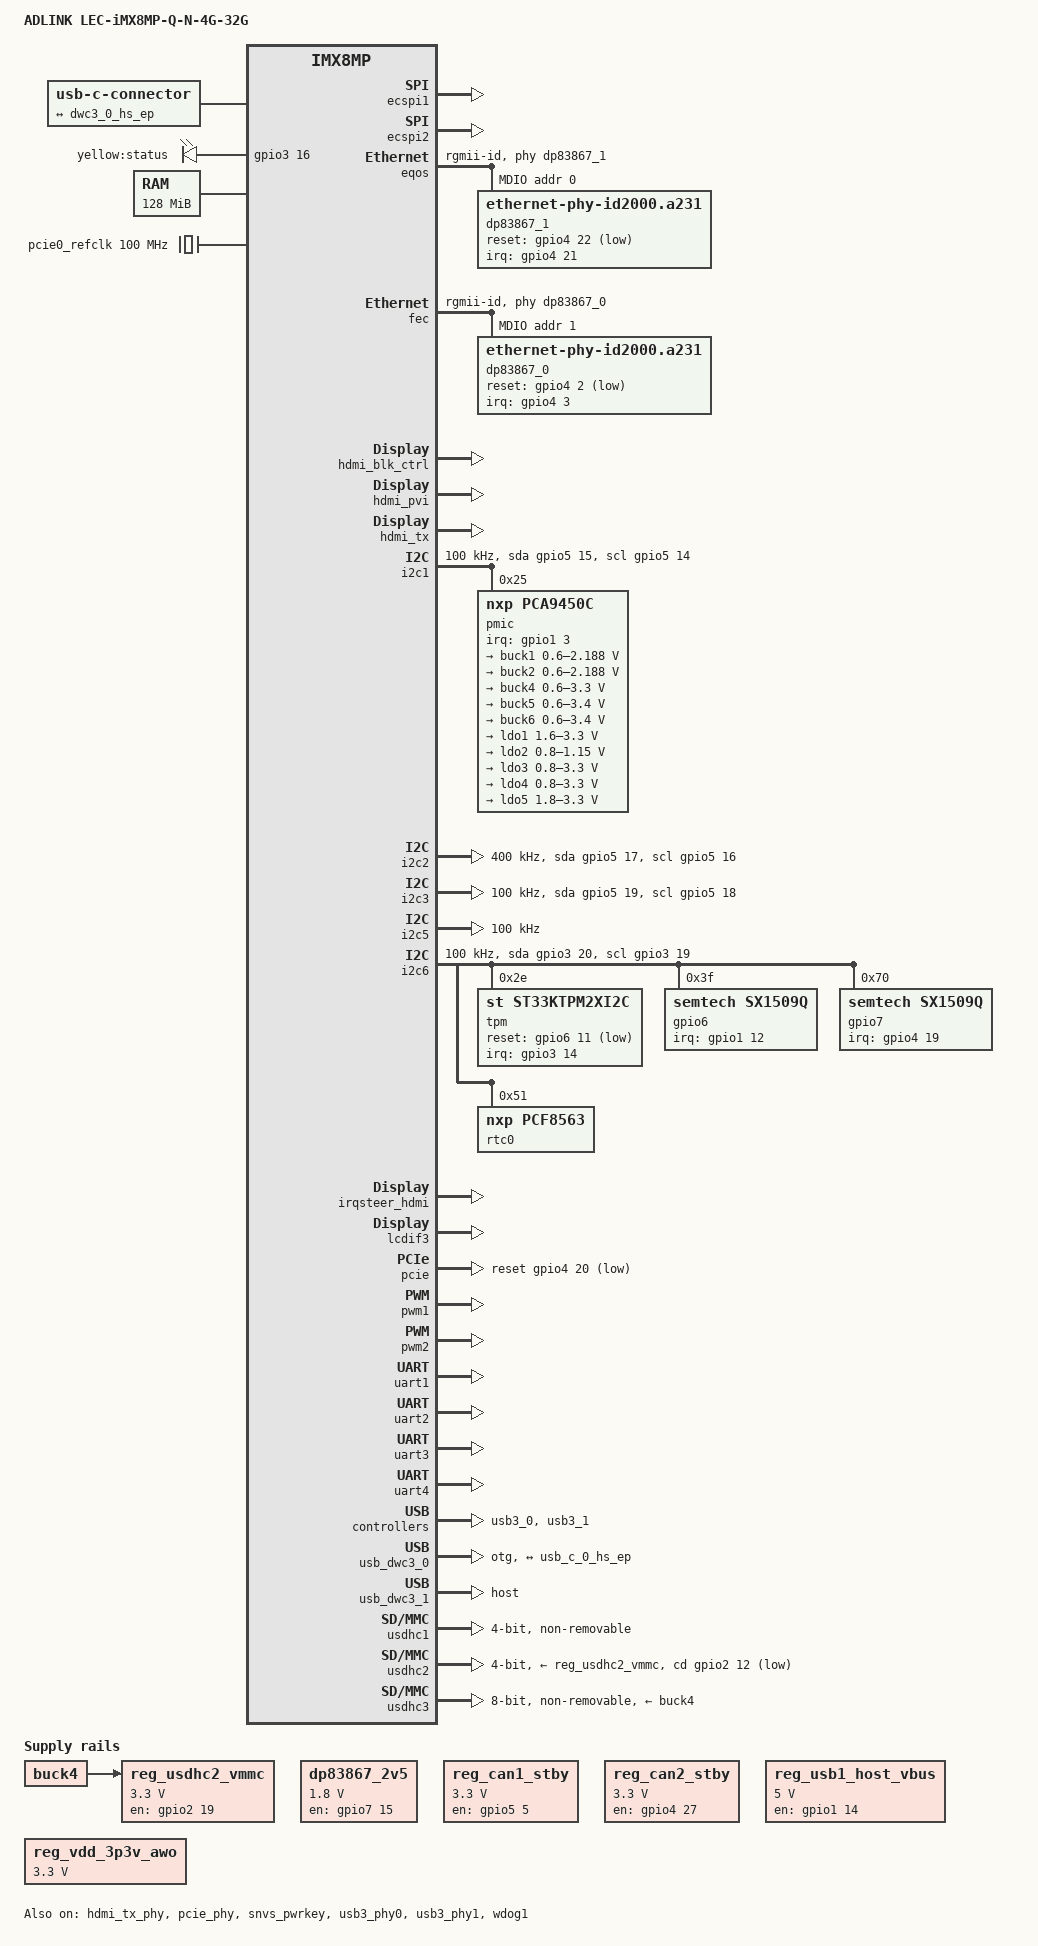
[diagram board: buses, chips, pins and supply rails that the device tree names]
// SPDX-License-Identifier: GPL-2.0
/*
 * Copyright (C) 2024 Heiko Schocher <hs@denx.de>
 */

#include "imx8mp.dtsi"
#include <dt-bindings/net/ti-dp83867.h>

/ {
	model = "ADLINK LEC-iMX8MP-Q-N-4G-32G";
	compatible = "abb,imx8mp-aristianetos3-som", "fsl,imx8mp";

	aliases {
		mmc0 = &usdhc3;	/* eMMC */
		mmc1 = &usdhc2;	/* MicroSD */
		ethernet0 = &eqos;
		ethernet1 = &fec;
	};

	chosen {
		bootargs = "console=ttymxc1,115200 earlycon=ec_imx6q,0x30890000,115200";
		stdout-path = &uart2;
	};

	connector {
		compatible = "usb-c-connector";
		label = "USB-C";
		data-role = "dual";

		ports {
			#address-cells = <1>;
			#size-cells = <0>;

			port@0 {
				reg = <0>;

				usb_c_0_hs_ep: endpoint {
					remote-endpoint = <&dwc3_0_hs_ep>;
				};
			};
		};
	};

	fixed-regulators {
		compatible = "simple-bus";
		device_type = "fixed-regulators";
		#address-cells = <1>;
		#size-cells = <0>;

		dp83867_2v5: regulator-enet {
			compatible = "regulator-fixed";
			regulator-name = "enet-2v5";
			regulator-min-microvolt = <1800000>;
			regulator-max-microvolt = <1800000>;
			gpio = <&gpio7 15 GPIO_ACTIVE_HIGH>;
			regulator-boot-on;
			regulator-always-on;
			enable-active-high;
		};
	};

	gpio-leds {
		compatible = "gpio-leds";
		pinctrl-names = "default";
		pinctrl-0 = <&pinctrl_gpio_led>;

		status {
			label = "yellow:status";
			gpios = <&gpio3 16 GPIO_ACTIVE_HIGH>;
			default-state = "on";
		};
	};

	lvds_backlight: lvds_backlight {
		compatible = "pwm-backlight";
		pinctrl-names = "default";
		pinctrl-0 = <&pinctrl_lvds_pwr_en>;
		pwms = <&pwm2 0 100000>;
		enable-gpios = <&gpio1 10 GPIO_ACTIVE_HIGH>;
		status = "disabled";

		brightness-levels = < 0  1  2  3  4  5  6  7  8  9
				     10 11 12 13 14 15 16 17 18 19
				     20 21 22 23 24 25 26 27 28 29
				     30 31 32 33 34 35 36 37 38 39
				     40 41 42 43 44 45 46 47 48 49
				     50 51 52 53 54 55 56 57 58 59
				     60 61 62 63 64 65 66 67 68 69
				     70 71 72 73 74 75 76 77 78 79
				     80 81 82 83 84 85 86 87 88 89
				     90 91 92 93 94 95 96 97 98 99
				    100>;
		default-brightness-level = <80>;
	};

	memory@40000000 {
		device_type = "memory";
		/* Memory size 512 MiB..8 GiB will be filled by U-Boot */
		reg = <0x0 0x40000000 0 0x08000000>;
	};

	pcie0_refclk: pcie0-refclk {
		compatible = "fixed-clock";
		#clock-cells = <0>;
		clock-frequency = <100000000>;
	};

	reg_can1_stby: regulator-can1-stby {
		compatible = "regulator-fixed";
		regulator-name = "can1-stby";
		pinctrl-names = "default";
		pinctrl-0 = <&pinctrl_flexcan1_reg>;
		regulator-min-microvolt = <3300000>;
		regulator-max-microvolt = <3300000>;
		gpio = <&gpio5 5 GPIO_ACTIVE_HIGH>;
		enable-active-high;
	};

	reg_can2_stby: regulator-can2-stby {
		compatible = "regulator-fixed";
		regulator-name = "can2-stby";
		pinctrl-names = "default";
		pinctrl-0 = <&pinctrl_flexcan2_reg>;
		regulator-min-microvolt = <3300000>;
		regulator-max-microvolt = <3300000>;
		gpio = <&gpio4 27 GPIO_ACTIVE_HIGH>;
		enable-active-high;
	};

	reg_usb1_host_vbus: regulator-usb1-vbus {
		compatible = "regulator-fixed";
		regulator-name = "usb1_host_vbus";
		pinctrl-names = "default";
		pinctrl-0 = <&pinctrl_usb1_vbus>;
		regulator-min-microvolt = <5000000>;
		regulator-max-microvolt = <5000000>;
		gpio = <&gpio1 14 GPIO_ACTIVE_HIGH>;
		enable-active-high;
		regulator-always-on;
	};

	reg_usdhc2_vmmc: regulator-usdhc2-vmmc {
		compatible = "regulator-fixed";
		enable-active-high;
		gpio = <&gpio2 19 0>; /* SD2_RESET */
		off-on-delay-us = <12000>;
		pinctrl-names = "default";
		pinctrl-0 = <&pinctrl_usdhc2_vmmc>;
		regulator-max-microvolt = <3300000>;
		regulator-min-microvolt = <3300000>;
		regulator-name = "VDD_3V3_SD";
		startup-delay-us = <100>;
		vin-supply = <&buck4>;
	};

	reg_vdd_3p3v_awo: regulator-vdd-3p3v-awo {
		compatible = "regulator-fixed";
		regulator-always-on;
		regulator-min-microvolt = <3300000>;
		regulator-max-microvolt = <3300000>;
		regulator-name = "VDD_3P3V_AWO";
	};

	reserved-memory {
		#address-cells = <2>;
		#size-cells = <2>;
		ranges;

		rpmsg_reserved: rpmsg@55800000 {
			no-map;
			reg = <0 0x55800000 0 0x800000>;
		};
	};
};

&A53_0 {
	cpu-supply = <&buck2>;
};

&A53_1 {
	cpu-supply = <&buck2>;
};

&A53_2 {
	cpu-supply = <&buck2>;
};

&A53_3 {
	cpu-supply = <&buck2>;
};

&clk {
	init-on-array = <IMX8MP_CLK_HSIO_ROOT>;
	clocks = <&osc_32k>, <&osc_24m>, <&clk_ext1>, <&clk_ext2>,
		 <&clk_ext3>, <&clk_ext4>;
	clock-names = "osc_32k", "osc_24m", "clk_ext1", "clk_ext2",
		      "clk_ext3", "clk_ext4";
	assigned-clocks = <&clk IMX8MP_CLK_A53_SRC>,
			  <&clk IMX8MP_CLK_A53_CORE>,
			  <&clk IMX8MP_CLK_NOC>,
			  <&clk IMX8MP_CLK_NOC_IO>,
			  <&clk IMX8MP_CLK_GIC>,
			  <&clk IMX8MP_CLK_AUDIO_AHB>,
			  <&clk IMX8MP_CLK_AUDIO_AXI_SRC>,
			  <&clk IMX8MP_AUDIO_PLL1>,
			  <&clk IMX8MP_AUDIO_PLL2>,
			  <&clk IMX8MP_VIDEO_PLL1>;
};

&ecspi1{
	#address-cells = <1>;
	#size-cells = <0>;

	fsl,spi-num-chipselects = <2>;
	pinctrl-names = "default";
	pinctrl-0 = <&pinctrl_ecspi1 &pinctrl_ecspi1_cs2>;
	cs-gpios = <&gpio5 9 GPIO_ACTIVE_LOW &gpio1 6 GPIO_ACTIVE_LOW>;
	status = "okay";
};

&ecspi2 {
	#address-cells = <1>;
	#size-cells = <0>;
	fsl,spi-num-chipselects = <1>;
	pinctrl-names = "default";
	pinctrl-0 = <&pinctrl_ecspi2>;
	cs-gpios = <&gpio5 13 GPIO_ACTIVE_LOW>;
	status = "okay";
};

/* eth0 */
&eqos {
	pinctrl-names = "default";
	pinctrl-0 = <&pinctrl_eqos_rgmii>;
	phy-handle = <&dp83867_1>;
	phy-mode = "rgmii-id";
	snps,force_thresh_dma_mode;
	snps,mtl-tx-config = <&mtl_tx_setup>;
	snps,mtl-rx-config = <&mtl_rx_setup>;
	status = "okay";

	mdio {
		compatible = "snps,dwmac-mdio";
		#address-cells = <1>;
		#size-cells = <0>;

		dp83867_1: eqos-ethernet-phy@0 {
			compatible = "ethernet-phy-id2000.a231", "ethernet-phy-ieee802.3-c22";
			reg = <0>;
			ti,rx-internal-delay = <DP83867_RGMIIDCTL_1_75_NS>;
			ti,tx-internal-delay = <DP83867_RGMIIDCTL_1_75_NS>;
			ti,fifo-depth = <DP83867_PHYCR_FIFO_DEPTH_4_B_NIB>;
			ti,min-output-impedance;
			ti,dp83867-rxctrl-strap-quirk;
			interrupt-parent = <&gpio4>;
			interrupts = <21 IRQ_TYPE_EDGE_FALLING>;
			reset-gpios = <&gpio4 22 GPIO_ACTIVE_LOW>;
		};
	};

	mtl_tx_setup: tx-queues-config {
		snps,tx-queues-to-use = <5>;
		snps,tx-sched-sp;
		queue0 {
			snps,dcb-algorithm;
			snps,priority = <0x1>;
		};
		queue1 {
			snps,dcb-algorithm;
			snps,priority = <0x2>;
		};
		queue2 {
			snps,dcb-algorithm;
			snps,priority = <0x4>;
		};
		queue3 {
			snps,dcb-algorithm;
			snps,priority = <0x8>;
		};
		queue4 {
			snps,dcb-algorithm;
			snps,priority = <0xf0>;
		};
	};

	mtl_rx_setup: rx-queues-config {
		snps,rx-queues-to-use = <5>;
		snps,rx-sched-sp;
		queue0 {
			snps,dcb-algorithm;
			snps,priority = <0x1>;
			snps,map-to-dma-channel = <0>;
		};
		queue1 {
			snps,dcb-algorithm;
			snps,priority = <0x2>;
			snps,map-to-dma-channel = <1>;
		};
		queue2 {
			snps,dcb-algorithm;
			snps,priority = <0x4>;
			snps,map-to-dma-channel = <2>;
		};
		queue3 {
			snps,dcb-algorithm;
			snps,priority = <0x8>;
			snps,map-to-dma-channel = <3>;
		};
		queue4 {
			snps,dcb-algorithm;
			snps,priority = <0xf0>;
			snps,map-to-dma-channel = <4>;
		};
	};

};

/* eth1 */
&fec {
	pinctrl-names = "default";
	pinctrl-0 = <&pinctrl_fec_rgmii>;
	phy-handle = <&dp83867_0>;
	phy-mode = "rgmii-id";
	fsl,magic-packet;
	status = "okay";

	mdio {
		#address-cells = <1>;
		#size-cells = <0>;

		dp83867_0: ethernet-phy@1 {
			compatible = "ethernet-phy-id2000.a231", "ethernet-phy-ieee802.3-c22";
			reg = <1>;
			interrupt-parent = <&gpio4>;
			interrupts = <3 IRQ_TYPE_EDGE_FALLING>;
			reset-gpio = <&gpio4 2 GPIO_ACTIVE_LOW>;

			ti,rx-internal-delay = <DP83867_RGMIIDCTL_1_75_NS>;
			ti,tx-internal-delay = <DP83867_RGMIIDCTL_1_75_NS>;
			ti,fifo-depth = <DP83867_PHYCR_FIFO_DEPTH_4_B_NIB>;

			ti,min-output-impedance;
			ti,dp83867-rxctrl-strap-quirk;
			eee-broken-1000t;
		};
	};
};

&flexcan1 {
	pinctrl-names = "default";
	pinctrl-0 = <&pinctrl_flexcan1>;
	xceiver-supply = <&reg_can1_stby>;
	status = "disabled";
};

&flexcan2 {
	pinctrl-names = "default";
	pinctrl-0 = <&pinctrl_flexcan2>;
	xceiver-supply = <&reg_can1_stby>;
	status = "disabled";
};

&hdmi_blk_ctrl {
	status = "okay";
};

&hdmi_pvi {
	status = "okay";
};

&hdmi_tx {
	pinctrl-names = "default";
	pinctrl-0 = <&pinctrl_hdmi>;
	status = "okay";
};

&hdmi_tx_phy {
	status = "okay";
};

&i2c1 {
	clock-frequency = <100000>;
	pinctrl-names = "default", "gpio";
	pinctrl-0 = <&pinctrl_i2c1>;
	pinctrl-1 = <&pinctrl_i2c1_gpio>;
	scl-gpios = <&gpio5 14 GPIO_ACTIVE_HIGH>;
	sda-gpios = <&gpio5 15 GPIO_ACTIVE_HIGH>;
	status = "okay";

	pmic: pmic@25 {
		compatible = "nxp,pca9450c";
		reg = <0x25>;
		pinctrl-names = "default";
		pinctrl-0 = <&pinctrl_pmic>;
		interrupt-parent = <&gpio1>;
		interrupts = <3 IRQ_TYPE_LEVEL_LOW>;

		/*
		 * i.MX 8M Plus Data Sheet for Consumer Products
		 * 3.1.4 Operating ranges
		 * MIMX8ML8CVNKZAB
		 */
		regulators {
			buck1: BUCK1 {	/* VDD_SOC (dual-phase with BUCK3) */
				regulator-compatible = "BUCK1";
				regulator-min-microvolt = <600000>;
				regulator-max-microvolt = <2187500>;
				regulator-ramp-delay = <3125>;
				regulator-always-on;
				regulator-boot-on;
			};

			buck2: BUCK2 {	/* VDD_ARM */
				nxp,dvs-run-voltage = <950000>;
				nxp,dvs-standby-voltage = <850000>;
				regulator-compatible = "BUCK2";
				regulator-min-microvolt = <600000>;
				regulator-max-microvolt = <2187500>;
				regulator-ramp-delay = <3125>;
				regulator-always-on;
				regulator-boot-on;
			};

			buck4: BUCK4 {	/* VDD_3V3 */
				regulator-compatible = "BUCK4";
				regulator-min-microvolt = <600000>;
				regulator-max-microvolt = <3300000>;
				regulator-always-on;
				regulator-boot-on;
			};

			buck5: BUCK5 {	/* VDD_1V8 */
				regulator-compatible = "BUCK5";
				regulator-min-microvolt = <600000>;
				regulator-max-microvolt = <3400000>;
				regulator-always-on;
				regulator-boot-on;
			};

			buck6: BUCK6 {	/* NVCC_DRAM_1V1 */
				regulator-compatible = "BUCK6";
				regulator-min-microvolt = <600000>;
				regulator-max-microvolt = <3400000>;
				regulator-always-on;
				regulator-boot-on;
			};

			ldo1: LDO1 {	/* NVCC_SNVS_1V8 */
				regulator-compatible = "LDO1";
				regulator-min-microvolt = <1600000>;
				regulator-max-microvolt = <3300000>;
				regulator-always-on;
				regulator-boot-on;
			};

			ldo2: LDO2 {	/* VDDA_1V8 */
				regulator-compatible = "LDO2";
				regulator-min-microvolt = <800000>;
				regulator-max-microvolt = <1150000>;
				regulator-always-on;
				regulator-boot-on;
			};

			ldo3: LDO3 {	/* VDDA_1V8 */
				regulator-compatible = "LDO3";
				regulator-min-microvolt = <800000>;
				regulator-max-microvolt = <3300000>;
				regulator-always-on;
				regulator-boot-on;
			};

			ldo4: LDO4 {	/* PMIC_LDO4 */
				regulator-compatible = "LDO4";
				regulator-min-microvolt = <800000>;
				regulator-max-microvolt = <3300000>;
				regulator-always-on;
				regulator-boot-on;
			};

			ldo5: LDO5 {	/* NVCC_SD2 */
				regulator-compatible = "LDO5";
				regulator-min-microvolt = <1800000>;
				regulator-max-microvolt = <3300000>;
			};
		};
	};
};

&i2c2 {
	clock-frequency = <400000>;
	pinctrl-names = "default", "gpio";
	pinctrl-0 = <&pinctrl_i2c2>;
	pinctrl-1 = <&pinctrl_i2c2_gpio>;
	scl-gpios = <&gpio5 16 GPIO_ACTIVE_HIGH>;
	sda-gpios = <&gpio5 17 GPIO_ACTIVE_HIGH>;
	status = "okay";
};

&i2c3 {
	clock-frequency = <100000>;
	pinctrl-names = "default", "gpio";
	pinctrl-0 = <&pinctrl_i2c3>;
	pinctrl-1 = <&pinctrl_i2c3_gpio>;
	scl-gpios = <&gpio5 18 GPIO_ACTIVE_HIGH>;
	sda-gpios = <&gpio5 19 GPIO_ACTIVE_HIGH>;
	status = "okay";
};

&i2c5 {
	#address-cells = <1>;
	clock-frequency = <100000>;
	pinctrl-names = "default";
	pinctrl-0 = <&pinctrl_i2c5>;
	status = "okay";
};

&i2c6 {
	clock-frequency = <100000>;
	pinctrl-names = "default", "gpio";
	pinctrl-0 = <&pinctrl_i2c6>;
	pinctrl-1 = <&pinctrl_i2c6_gpio>;
	scl-gpios = <&gpio3 19 GPIO_ACTIVE_HIGH>;
	sda-gpios = <&gpio3 20 GPIO_ACTIVE_HIGH>;
	status = "okay";

	/* TPM - ST33TPHF2XI2C U2301 */
	tpm: tpm@2e {
		#gpio-cells = <2>;
		#interrupt-cells = <2>;
		compatible = "st,st33ktpm2xi2c";
		reg = <0x2e>;

		label = "tpm";
		pinctrl-names = "default";
		pinctrl-0 = <&pinctrl_i2c6_tpm_irq &pinctrl_tpm>;
		interrupt-parent = <&gpio3>;
		interrupts = <14 IRQ_TYPE_LEVEL_LOW>;
		reset-gpio = <&gpio6 11 GPIO_ACTIVE_LOW>;
		status = "okay";
	};

	/* SX1509(0) U2605 */
	gpio6: i2c6_gpioext0@3f {
		#gpio-cells = <2>;
		#interrupt-cells = <2>;
		compatible = "semtech,sx1509q";
		reg = <0x3f>;

		semtech,probe-reset;
		gpio-controller;
		interrupt-controller;

		interrupt-parent = <&gpio1>;
		interrupts = <12 IRQ_TYPE_EDGE_FALLING>;
	};

	/* SX1509(1) U2606 */
	gpio7: i2c6_gpioext1@70 {
		#gpio-cells = <2>;
		#interrupt-cells = <2>;
		compatible = "semtech,sx1509q";
		reg = <0x70>;

		semtech,probe-reset;
		gpio-controller;
		interrupt-controller;

		interrupt-parent = <&gpio4>;
		interrupts = <19 IRQ_TYPE_EDGE_FALLING>;

		pinctrl_tpm: aristainetos3-tpm-grp {
			pins = "gpio6","gpio7"; // TPM_PP, TPM_LP
			output-high;
		};
	};

	/* RTC U2607 */
	rtc0: rtc@51 {
		compatible = "nxp,pcf8563";
		reg = <0x51>;
		#clock-cells = <0>;
	};
};

&irqsteer_hdmi {
	status = "okay";
};

&lcdif1 {
	status = "disabled";
};

&lcdif2 {
	status = "disabled";
};

/* HDMI */
&lcdif3 {
	status = "okay";

};

&lvds_bridge {
	status = "disabled";
};

&mipi_dsi {
	status = "disabled";
};

&pcie{
	pinctrl-names = "default";
	pinctrl-0 = <&pinctrl_pcie>;
	reset-gpio = <&gpio4 20 GPIO_ACTIVE_LOW>;
	ext_osc = <0>;
	clocks = <&clk IMX8MP_CLK_HSIO_ROOT>,
		 <&clk IMX8MP_CLK_PCIE_AUX>,
		 <&clk IMX8MP_CLK_HSIO_AXI>,
		 <&clk IMX8MP_CLK_PCIE_ROOT>;
	clock-names = "pcie", "pcie_aux", "pcie_phy", "pcie_bus";
	assigned-clocks = <&clk IMX8MP_CLK_HSIO_AXI>,
			  <&clk IMX8MP_CLK_PCIE_AUX>;
	assigned-clock-rates = <500000000>, <10000000>;
	assigned-clock-parents = <&clk IMX8MP_SYS_PLL2_500M>,
				 <&clk IMX8MP_SYS_PLL2_50M>;
	reserved-region = <&rpmsg_reserved>;
	fsl,tx-deemph-gen1 = <0x1f>;
	fsl,max-link-speed = <3>;
	status = "okay";
};

&pcie_phy{
	fsl,refclk-pad-mode = <IMX8_PCIE_REFCLK_PAD_INPUT>;
	clocks = <&pcie0_refclk>;
	clock-names = "ref";
	status = "okay";
};

&pwm1 {
	pinctrl-names = "default";
	pinctrl-0 = <&pinctrl_pwm1>;
	status = "okay";
};

&pwm2 {
	#pwm-cells = <2>;
	pinctrl-names = "default";
	pinctrl-0 = <&pinctrl_pwm2>;
	status = "okay";
};

&snvs_pwrkey {
	status = "okay";
};

&uart1 {
	pinctrl-names = "default";
	pinctrl-0 = <&pinctrl_uart1>;
	status = "okay";
};

&uart2 {
	pinctrl-names = "default";
	pinctrl-0 = <&pinctrl_uart2>;
	status = "okay";
};

&uart3 {
	pinctrl-names = "default";
	pinctrl-0 = <&pinctrl_uart3>;
	status = "okay";
};

&uart4 {
	pinctrl-names = "default";
	pinctrl-0 = <&pinctrl_uart4>;
	status = "okay";
};

&usb3_phy0 {
	fsl,phy-tx-vref-tune = <0xe>;
	fsl,phy-tx-preemp-amp-tune = <3>;
	fsl,phy-tx-vboost-level = <5>;
	fsl,phy-comp-dis-tune = <7>;
	fsl,pcs-tx-deemph-3p5db = <0x21>;
	fsl,phy-pcs-tx-swing-full = <0x7f>;
	status = "okay";
};

&usb3_0 {
	status = "okay";
};

&usb_dwc3_0 {
	dr_mode = "otg";
	hnp-disable;
	srp-disable;
	adp-disable;
	usb-role-switch;
	role-switch-default-mode = "peripheral";
	status = "okay";

	port {
		#address-cells = <1>;
		#size-cells = <0>;

		dwc3_0_hs_ep: endpoint@0 {
			reg = <0>;
			remote-endpoint = <&usb_c_0_hs_ep>;
		};
	};
};

&usb3_phy1 {
	fsl,phy-tx-preemp-amp-tune = <3>;
	status = "okay";
};

&usb3_1 {
	status = "okay";
};

&usb_dwc3_1 {
	dr_mode = "host";
	status = "okay";
};

&usdhc1 {
	pinctrl-names = "default", "state_100mhz", "state_200mhz";
	pinctrl-0 = <&pinctrl_usdhc1>;
	pinctrl-1 = <&pinctrl_usdhc1_100mhz>;
	pinctrl-2 = <&pinctrl_usdhc1_200mhz>;
	bus-width = <4>;
	non-removable;
	status = "okay";
};

/* SD slot */
&usdhc2 {
	pinctrl-names = "default", "state_100mhz", "state_200mhz";
	pinctrl-0 = <&pinctrl_usdhc2>, <&pinctrl_usdhc2_gpio>;
	pinctrl-1 = <&pinctrl_usdhc2_100mhz>, <&pinctrl_usdhc2_gpio>;
	pinctrl-2 = <&pinctrl_usdhc2_200mhz>, <&pinctrl_usdhc2_gpio>;
	cd-gpios = <&gpio2 12 GPIO_ACTIVE_LOW>;
	vmmc-supply = <&reg_usdhc2_vmmc>;
	bus-width = <4>;
	status = "okay";
};

/* eMMC */
&usdhc3 {
	pinctrl-names = "default", "state_100mhz", "state_200mhz";
	pinctrl-0 = <&pinctrl_usdhc3>;
	pinctrl-1 = <&pinctrl_usdhc3_100mhz>;
	pinctrl-2 = <&pinctrl_usdhc3_200mhz>;
	vmmc-supply = <&buck4>;
	vqmmc-supply = <&buck5>;
	bus-width = <8>;
	non-removable;
	status = "okay";
};

&wdog1 {
	pinctrl-names = "default";
	pinctrl-0 = <&pinctrl_wdog>;
	fsl,ext-reset-output;
	status = "okay";
};

&iomuxc {
	pinctrl-names = "default";

	pinctrl_disp_select:  aristainetos3-dispselect-grp {
		fsl,pins = <
			MX8MP_IOMUXC_SAI5_RXD2__GPIO3_IO23		0xd6
		>;
	};

	pinctrl_ecspi1: aristainetos3-ecspi1-grp {
		fsl,pins = <
			MX8MP_IOMUXC_ECSPI1_SCLK__ECSPI1_SCLK		0x82
			MX8MP_IOMUXC_ECSPI1_MOSI__ECSPI1_MOSI		0x82
			MX8MP_IOMUXC_ECSPI1_MISO__ECSPI1_MISO		0x82
			MX8MP_IOMUXC_ECSPI1_SS0__GPIO5_IO09		0x40000
		>;
	};

	pinctrl_ecspi1_cs2: aristainetos3-ecspi1-cs2-grp {
		fsl,pins = <
			MX8MP_IOMUXC_GPIO1_IO06__GPIO1_IO06		0x40000
		>;
	};

	pinctrl_ecspi2: aristainetos3-ecspi2-grp {
		fsl,pins = <
			MX8MP_IOMUXC_ECSPI2_SCLK__ECSPI2_SCLK		0x82
			MX8MP_IOMUXC_ECSPI2_MOSI__ECSPI2_MOSI		0x82
			MX8MP_IOMUXC_ECSPI2_MISO__ECSPI2_MISO		0x82
			MX8MP_IOMUXC_ECSPI2_SS0__GPIO5_IO13		0x40000
		>;
	};

	pinctrl_eqos_rgmii: aristainetos3-eqos-rgmii-grp {
		fsl,pins = <
			MX8MP_IOMUXC_ENET_MDC__ENET_QOS_MDC				0x3
			MX8MP_IOMUXC_ENET_MDIO__ENET_QOS_MDIO				0x3
			MX8MP_IOMUXC_ENET_RD0__ENET_QOS_RGMII_RD0			0x91
			MX8MP_IOMUXC_ENET_RD1__ENET_QOS_RGMII_RD1			0x91
			MX8MP_IOMUXC_ENET_RD2__ENET_QOS_RGMII_RD2			0x91
			MX8MP_IOMUXC_ENET_RD3__ENET_QOS_RGMII_RD3			0x91
			MX8MP_IOMUXC_ENET_RXC__CCM_ENET_QOS_CLOCK_GENERATE_RX_CLK	0x91
			MX8MP_IOMUXC_ENET_RX_CTL__ENET_QOS_RGMII_RX_CTL			0x91
			MX8MP_IOMUXC_ENET_TD0__ENET_QOS_RGMII_TD0			0x1f
			MX8MP_IOMUXC_ENET_TD1__ENET_QOS_RGMII_TD1			0x1f
			MX8MP_IOMUXC_ENET_TD2__ENET_QOS_RGMII_TD2			0x1f
			MX8MP_IOMUXC_ENET_TD3__ENET_QOS_RGMII_TD3			0x1f
			MX8MP_IOMUXC_ENET_TX_CTL__ENET_QOS_RGMII_TX_CTL			0x1f
			MX8MP_IOMUXC_ENET_TXC__CCM_ENET_QOS_CLOCK_GENERATE_TX_CLK	0x1f
			MX8MP_IOMUXC_SAI2_RXC__GPIO4_IO22				0x19
		>;
	};

	pinctrl_fec_rgmii: aristainetos3-fec-rgmii-grp {
		fsl,pins = <
			MX8MP_IOMUXC_SAI1_RXD2__ENET1_MDC		0x3
			MX8MP_IOMUXC_SAI1_RXD3__ENET1_MDIO		0x3
			MX8MP_IOMUXC_SAI1_RXD4__ENET1_RGMII_RD0		0x91
			MX8MP_IOMUXC_SAI1_RXD5__ENET1_RGMII_RD1		0x91
			MX8MP_IOMUXC_SAI1_RXD6__ENET1_RGMII_RD2		0x91
			MX8MP_IOMUXC_SAI1_RXD7__ENET1_RGMII_RD3		0x91
			MX8MP_IOMUXC_SAI1_TXC__ENET1_RGMII_RXC		0x91
			MX8MP_IOMUXC_SAI1_TXFS__ENET1_RGMII_RX_CTL	0x91
			MX8MP_IOMUXC_SAI1_TXD0__ENET1_RGMII_TD0		0x1f
			MX8MP_IOMUXC_SAI1_TXD1__ENET1_RGMII_TD1		0x1f
			MX8MP_IOMUXC_SAI1_TXD2__ENET1_RGMII_TD2		0x1f
			MX8MP_IOMUXC_SAI1_TXD3__ENET1_RGMII_TD3		0x1f
			MX8MP_IOMUXC_SAI1_TXD4__ENET1_RGMII_TX_CTL	0x1f
			MX8MP_IOMUXC_SAI1_TXD5__ENET1_RGMII_TXC		0x1f
			MX8MP_IOMUXC_SAI1_RXD0__GPIO4_IO02		0x19
		>;
	};

	pinctrl_flexcan1: aristainetos3-flexcan1-grp {
		fsl,pins = <
			MX8MP_IOMUXC_SPDIF_RX__CAN1_RX			0x154
			MX8MP_IOMUXC_SPDIF_TX__CAN1_TX			0x154
		>;
	};

	pinctrl_flexcan2: aristainetos3-flexcan2-grp {
		fsl,pins = <
			MX8MP_IOMUXC_SAI5_MCLK__CAN2_RX         0x154
			MX8MP_IOMUXC_SAI5_RXD3__CAN2_TX         0x154
		>;
	};

	pinctrl_flexcan1_reg: aristainetos3-flexcan1-reg-grp {
		fsl,pins = <
			MX8MP_IOMUXC_SPDIF_EXT_CLK__GPIO5_IO05  0x154   /* CAN1_STBY */
		>;
	};

	pinctrl_flexcan2_reg: aristainetos3-flexcan2-reg-grp {
		fsl,pins = <
			MX8MP_IOMUXC_SAI2_MCLK__GPIO4_IO27      0x154   /* CAN2_STBY */
		>;
	};

	pinctrl_gpio_led: aristainetos3-gpio-led-grp {
		fsl,pins = <
			MX8MP_IOMUXC_NAND_READY_B__GPIO3_IO16	0x19
		>;
	};

	pinctrl_gpio_led_proton2s: aristainetos3-gpio-proton2s-led-grp {
		fsl,pins = <
			MX8MP_IOMUXC_SD1_DATA4__GPIO2_IO06	0x19
			MX8MP_IOMUXC_SD1_DATA5__GPIO2_IO07	0x19
		>;
	};

	pinctrl_gpio_proton2s: aristainetos3-gpio-proton2s-grp {
		fsl,pins = <
			MX8MP_IOMUXC_GPIO1_IO07__GPIO1_IO07	0x19
		>;
	};

	pinctrl_hdmi: aristainetos3-hdmi-grp {
		fsl,pins = <
			MX8MP_IOMUXC_HDMI_DDC_SCL__HDMIMIX_HDMI_SCL	0x400001c3
			MX8MP_IOMUXC_HDMI_DDC_SDA__HDMIMIX_HDMI_SDA	0x400001c3
			MX8MP_IOMUXC_HDMI_HPD__HDMIMIX_HDMI_HPD		0x40000019
			MX8MP_IOMUXC_HDMI_CEC__HDMIMIX_HDMI_CEC		0x40000019
		>;
	};

	pinctrl_i2c1: aristainetos3-i2c1-grp {
		fsl,pins = <
			MX8MP_IOMUXC_I2C1_SCL__I2C1_SCL		0x400001c3
			MX8MP_IOMUXC_I2C1_SDA__I2C1_SDA		0x400001c3
		>;
	};

	pinctrl_i2c1_gpio: aristainetos3-i2c1-gpio-grp {
		fsl,pins = <
			MX8MP_IOMUXC_I2C1_SCL__GPIO5_IO14	0x1c3
			MX8MP_IOMUXC_I2C1_SDA__GPIO5_IO15	0x1c3
		>;
	};

	pinctrl_i2c2: aristainetos3-i2c2-grp {
		fsl,pins = <
			MX8MP_IOMUXC_I2C2_SCL__I2C2_SCL		0x400001c3
			MX8MP_IOMUXC_I2C2_SDA__I2C2_SDA		0x400001c3
		>;
	};

	pinctrl_i2c2_gpio: aristainetos3-i2c2-gpio-grp {
		fsl,pins = <
			MX8MP_IOMUXC_I2C2_SCL__GPIO5_IO16	0x1c3
			MX8MP_IOMUXC_I2C2_SDA__GPIO5_IO17	0x1c3
		>;
	};

	pinctrl_i2c3: aristainetos3-i2c3-grp {
		fsl,pins = <
			MX8MP_IOMUXC_I2C3_SCL__I2C3_SCL		0x400001c3
			MX8MP_IOMUXC_I2C3_SDA__I2C3_SDA		0x400001c3
		>;
	};

	pinctrl_i2c3_gpio: aristainetos3-i2c3-gpio-grp {
		fsl,pins = <
			MX8MP_IOMUXC_I2C3_SCL__GPIO5_IO18	0x1c3
			MX8MP_IOMUXC_I2C3_SDA__GPIO5_IO19	0x1c3
		>;
	};

	pinctrl_i2c5: aristainetos3-i2c5-grp {
		fsl,pins = <
			MX8MP_IOMUXC_SAI5_RXD0__I2C5_SCL	0x400001c3
			MX8MP_IOMUXC_SAI5_MCLK__I2C5_SDA	0x400001c3
		>;
	};

	pinctrl_i2c6: aristainetos3-i2c6-grp {
		fsl,pins = <
			MX8MP_IOMUXC_SAI5_RXFS__I2C6_SCL	0x400001c3
			MX8MP_IOMUXC_SAI5_RXC__I2C6_SDA		0x400001c3
		>;
	};

	pinctrl_i2c6_gpio: aristainetos3-i2c6-gpio-grp {
		fsl,pins = <
			MX8MP_IOMUXC_SAI5_RXFS__GPIO3_IO19	0x1c3
			MX8MP_IOMUXC_SAI5_RXC__GPIO3_IO20	0x1c3
		>;
	};

	pinctrl_i2c6_rtc_irq: aristainetos3-i2c6-rtc-irq-grp {
		fsl,pins = <
			MX8MP_IOMUXC_SAI5_RXD1__GPIO3_IO22		0xd6
		>;
	};

	pinctrl_i2c6_tpm_irq: aristainetos3-i2c6-tpm-irq-grp {
		fsl,pins = <
			MX8MP_IOMUXC_NAND_DQS__GPIO3_IO14		0xd6
		>;
	};

	pinctrl_lcd0_vdd_en: aristainetos3-lcd0-vdden-grp {
		fsl,pins = <
			MX8MP_IOMUXC_GPIO1_IO13__GPIO1_IO13		0xd6
		>;
	};

	pinctrl_lcd1_vdd_en: aristainetos3-lcd1-vdden-grp {
		fsl,pins = <
			MX8MP_IOMUXC_GPIO1_IO05__GPIO1_IO05		0xd6
		>;
	};

	pinctrl_lvds_pwr_en: aristainetos3-lvds-pwren-grp {
		fsl,pins = <
			MX8MP_IOMUXC_GPIO1_IO10__GPIO1_IO10		0xd6
		>;
	};

	pinctrl_pcie: aristainetos3-pcie-grp {
		fsl,pins = <
			MX8MP_IOMUXC_I2C4_SCL__PCIE_CLKREQ_B		0x61
			MX8MP_IOMUXC_SAI1_MCLK__GPIO4_IO20		0x41
		>;
	};

	pinctrl_pmic: aristainetos3-pmic-grp {
		fsl,pins = <
			MX8MP_IOMUXC_GPIO1_IO03__GPIO1_IO03	0x41
		>;
	};

	pinctrl_pwm1: aristainetos3-pwm1-grp {
		fsl,pins = <
			MX8MP_IOMUXC_GPIO1_IO01__PWM1_OUT	0x116
		>;
	};

	pinctrl_pwm2: aristainetos3-pwm2-grp {
		fsl,pins = <
			MX8MP_IOMUXC_GPIO1_IO11__PWM2_OUT	0x116
		>;
	};

	pinctrl_uart1: aristainetos3-uart1-grp {
		fsl,pins = <
			MX8MP_IOMUXC_UART1_RXD__UART1_DCE_RX	0x140
			MX8MP_IOMUXC_UART1_TXD__UART1_DCE_TX	0x140
		>;
	};

	pinctrl_uart1_rs485: aristainetos3-uart1-rs485-grp {
		fsl,pins = <
			MX8MP_IOMUXC_UART1_RXD__UART1_DCE_RX	0x140
			MX8MP_IOMUXC_UART1_TXD__UART1_DCE_TX	0x140
			MX8MP_IOMUXC_SD1_DATA0__GPIO2_IO02	0x140
		>;
	};

	pinctrl_uart2: aristainetos3-uart2-grp {
		fsl,pins = <
			MX8MP_IOMUXC_UART2_RXD__UART2_DCE_RX	0x140
			MX8MP_IOMUXC_UART2_TXD__UART2_DCE_TX	0x140
			MX8MP_IOMUXC_SD1_DATA4__GPIO2_IO06	0x140
			MX8MP_IOMUXC_SD1_DATA5__UART2_DCE_CTS	0x140
		>;
	};

	pinctrl_uart3: aristainetos3-uart3-grp {
		fsl,pins = <
			MX8MP_IOMUXC_NAND_ALE__UART3_DCE_RX	0x140
			MX8MP_IOMUXC_NAND_CE0_B__UART3_DCE_TX	0x140
		>;
	};

	pinctrl_uart3_rs485: aristainetos3-uart3-rs485-grp {
		fsl,pins = <
			MX8MP_IOMUXC_NAND_ALE__UART3_DCE_RX	0x140
			MX8MP_IOMUXC_NAND_CE0_B__UART3_DCE_TX	0x140
			MX8MP_IOMUXC_SD1_RESET_B__GPIO2_IO10	0x140
		>;
	};

	pinctrl_uart4: aristainetos3-uart4-grp {
		fsl,pins = <
			MX8MP_IOMUXC_UART4_RXD__UART4_DCE_RX    0x140
			MX8MP_IOMUXC_UART4_TXD__UART4_DCE_TX    0x140
			MX8MP_IOMUXC_NAND_DATA03__GPIO3_IO09	0x140
			MX8MP_IOMUXC_NAND_DATA02__UART4_DCE_CTS 0x140
		>;
	};

	pinctrl_usb1_vbus: aristainetos3-usb1-grp {
		fsl,pins = <
			MX8MP_IOMUXC_GPIO1_IO14__GPIO1_IO14	0x19
		>;
	};

	pinctrl_usdhc1: aristainetos3-usdhc1-grp {
		fsl,pins = <
			MX8MP_IOMUXC_SD1_CLK__USDHC1_CLK	0x190
			MX8MP_IOMUXC_SD1_CMD__USDHC1_CMD	0x1d0
			MX8MP_IOMUXC_SD1_DATA0__USDHC1_DATA0	0x1d0
			MX8MP_IOMUXC_SD1_DATA1__USDHC1_DATA1	0x1d0
			MX8MP_IOMUXC_SD1_DATA2__USDHC1_DATA2	0x1d0
			MX8MP_IOMUXC_SD1_DATA3__USDHC1_DATA3	0x1d0
		>;
	};

	pinctrl_usdhc1_100mhz: aristainetos3-usdhc1-100mhz-grp {
		fsl,pins = <
			MX8MP_IOMUXC_SD1_CLK__USDHC1_CLK	0x194
			MX8MP_IOMUXC_SD1_CMD__USDHC1_CMD	0x1d4
			MX8MP_IOMUXC_SD1_DATA0__USDHC1_DATA0	0x1d4
			MX8MP_IOMUXC_SD1_DATA1__USDHC1_DATA1	0x1d4
			MX8MP_IOMUXC_SD1_DATA2__USDHC1_DATA2	0x1d4
			MX8MP_IOMUXC_SD1_DATA3__USDHC1_DATA3	0x1d4
		>;
	};

	pinctrl_usdhc1_200mhz: aristainetos3-usdhc1-200mhz-grp {
		fsl,pins = <
			MX8MP_IOMUXC_SD1_CLK__USDHC1_CLK	0x196
			MX8MP_IOMUXC_SD1_CMD__USDHC1_CMD	0x1d6
			MX8MP_IOMUXC_SD1_DATA0__USDHC1_DATA0	0x1d6
			MX8MP_IOMUXC_SD1_DATA1__USDHC1_DATA1	0x1d6
			MX8MP_IOMUXC_SD1_DATA2__USDHC1_DATA2	0x1d6
			MX8MP_IOMUXC_SD1_DATA3__USDHC1_DATA3	0x1d6
		>;
	};

	pinctrl_usdhc2: aristainetos3-usdhc2-grp {
		fsl,pins = <
			MX8MP_IOMUXC_SD2_CLK__USDHC2_CLK	0x190
			MX8MP_IOMUXC_SD2_CMD__USDHC2_CMD	0x1d0
			MX8MP_IOMUXC_SD2_DATA0__USDHC2_DATA0	0x1d0
			MX8MP_IOMUXC_SD2_DATA1__USDHC2_DATA1	0x1d0
			MX8MP_IOMUXC_SD2_DATA2__USDHC2_DATA2	0x1d0
			MX8MP_IOMUXC_SD2_DATA3__USDHC2_DATA3	0x1d0
			MX8MP_IOMUXC_GPIO1_IO04__USDHC2_VSELECT	0xc1

		>;
	};

	pinctrl_usdhc2_100mhz: aristainetos3-usdhc2-100mhz-grp {
		fsl,pins = <
			MX8MP_IOMUXC_SD2_CLK__USDHC2_CLK	0x194
			MX8MP_IOMUXC_SD2_CMD__USDHC2_CMD	0x1d4
			MX8MP_IOMUXC_SD2_DATA0__USDHC2_DATA0	0x1d4
			MX8MP_IOMUXC_SD2_DATA1__USDHC2_DATA1	0x1d4
			MX8MP_IOMUXC_SD2_DATA2__USDHC2_DATA2	0x1d4
			MX8MP_IOMUXC_SD2_DATA3__USDHC2_DATA3	0x1d4
			MX8MP_IOMUXC_GPIO1_IO04__USDHC2_VSELECT 0xc1
		>;
	};

	pinctrl_usdhc2_200mhz: aristainetos3-usdhc2-200mhz-grp {
		fsl,pins = <
			MX8MP_IOMUXC_SD2_CLK__USDHC2_CLK	0x196
			MX8MP_IOMUXC_SD2_CMD__USDHC2_CMD	0x1d6
			MX8MP_IOMUXC_SD2_DATA0__USDHC2_DATA0	0x1d6
			MX8MP_IOMUXC_SD2_DATA1__USDHC2_DATA1	0x1d6
			MX8MP_IOMUXC_SD2_DATA2__USDHC2_DATA2	0x1d6
			MX8MP_IOMUXC_SD2_DATA3__USDHC2_DATA3	0x1d6
			MX8MP_IOMUXC_GPIO1_IO04__USDHC2_VSELECT 0xc1
		>;
	};

	pinctrl_usdhc2_gpio: aristainetos3-usdhc2-gpio-grp {
		fsl,pins = <
			MX8MP_IOMUXC_SD2_CD_B__GPIO2_IO12	0x40000080
		>;
	};

	pinctrl_usdhc2_vmmc: aristainetos3-usdhc2-vmmc-grp {
		fsl,pins = <
			MX8MP_IOMUXC_SD2_RESET_B__GPIO2_IO19	0x41
		>;
	};

	pinctrl_usdhc3: aristainetos3-usdhc3-grp {
		fsl,pins = <
			MX8MP_IOMUXC_NAND_WE_B__USDHC3_CLK	0x190
			MX8MP_IOMUXC_NAND_WP_B__USDHC3_CMD	0x1d0
			MX8MP_IOMUXC_NAND_DATA04__USDHC3_DATA0	0x1d0
			MX8MP_IOMUXC_NAND_DATA05__USDHC3_DATA1	0x1d0
			MX8MP_IOMUXC_NAND_DATA06__USDHC3_DATA2	0x1d0
			MX8MP_IOMUXC_NAND_DATA07__USDHC3_DATA3	0x1d0
			MX8MP_IOMUXC_NAND_RE_B__USDHC3_DATA4	0x1d0
			MX8MP_IOMUXC_NAND_CE2_B__USDHC3_DATA5	0x1d0
			MX8MP_IOMUXC_NAND_CE3_B__USDHC3_DATA6	0x1d0
			MX8MP_IOMUXC_NAND_CLE__USDHC3_DATA7	0x1d0
			MX8MP_IOMUXC_NAND_CE1_B__USDHC3_STROBE	0x190
		>;
	};

	pinctrl_usdhc3_100mhz: aristainetos3-usdhc3-100mhz-grp {
		fsl,pins = <
			MX8MP_IOMUXC_NAND_WE_B__USDHC3_CLK	0x194
			MX8MP_IOMUXC_NAND_WP_B__USDHC3_CMD	0x1d4
			MX8MP_IOMUXC_NAND_DATA04__USDHC3_DATA0	0x1d4
			MX8MP_IOMUXC_NAND_DATA05__USDHC3_DATA1	0x1d4
			MX8MP_IOMUXC_NAND_DATA06__USDHC3_DATA2	0x1d4
			MX8MP_IOMUXC_NAND_DATA07__USDHC3_DATA3	0x1d4
			MX8MP_IOMUXC_NAND_RE_B__USDHC3_DATA4	0x1d4
			MX8MP_IOMUXC_NAND_CE2_B__USDHC3_DATA5	0x1d4
			MX8MP_IOMUXC_NAND_CE3_B__USDHC3_DATA6	0x1d4
			MX8MP_IOMUXC_NAND_CLE__USDHC3_DATA7	0x1d4
			MX8MP_IOMUXC_NAND_CE1_B__USDHC3_STROBE	0x194
		>;
	};

	pinctrl_usdhc3_200mhz: aristainetos3-usdhc3-200mhz-grp {
		fsl,pins = <
			MX8MP_IOMUXC_NAND_WE_B__USDHC3_CLK	0x196
			MX8MP_IOMUXC_NAND_WP_B__USDHC3_CMD	0x1d6
			MX8MP_IOMUXC_NAND_DATA04__USDHC3_DATA0	0x1d6
			MX8MP_IOMUXC_NAND_DATA05__USDHC3_DATA1	0x1d6
			MX8MP_IOMUXC_NAND_DATA06__USDHC3_DATA2	0x1d6
			MX8MP_IOMUXC_NAND_DATA07__USDHC3_DATA3	0x1d6
			MX8MP_IOMUXC_NAND_RE_B__USDHC3_DATA4	0x1d6
			MX8MP_IOMUXC_NAND_CE2_B__USDHC3_DATA5	0x1d6
			MX8MP_IOMUXC_NAND_CE3_B__USDHC3_DATA6	0x1d6
			MX8MP_IOMUXC_NAND_CLE__USDHC3_DATA7	0x1d6
			MX8MP_IOMUXC_NAND_CE1_B__USDHC3_STROBE	0x196
		>;
	};

	pinctrl_watchdog_gpio: aristainetos3-wdog-gpio-grp {
		fsl,pins = <
			MX8MP_IOMUXC_GPIO1_IO06__GPIO1_IO06		0x19
		>;
	};

	pinctrl_wdog: aristainetos3-wdog-grp {
		fsl,pins = <
			MX8MP_IOMUXC_GPIO1_IO02__WDOG1_WDOG_B		0xc6
		>;
	};
};
